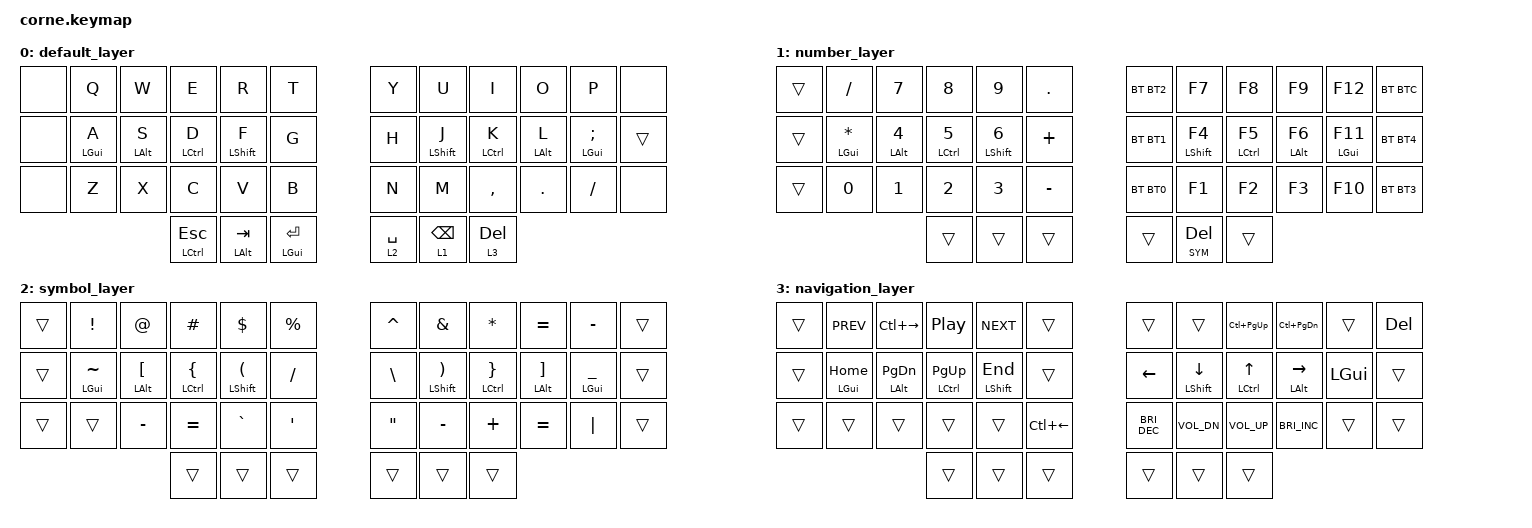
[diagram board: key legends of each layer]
/*
 * Copyright (c) 2020 The ZMK Contributors
 *
 * SPDX-License-Identifier: MIT
 */

#include <behaviors.dtsi>
#include <dt-bindings/zmk/mouse.h>
#include <dt-bindings/zmk/bt.h>
#include <dt-bindings/zmk/keys.h>

#undef MOVE_UP 
#undef MOVE_DOWN 
#undef MOVE_LEFT 
#undef MOVE_RIGHT

#define MOVE_UP MOVE_VERT(-4000)
#define MOVE_DOWN MOVE_VERT(4000)
#define MOVE_LEFT MOVE_HOR(-4000)
#define MOVE_RIGHT MOVE_HOR(4000)

// ms timings for homerow mods for each side

#define HOMEROW_TAPPING_TERM 280
#define HOMEROW_QUICK_TAP 150 // ca. 10500/(relaxed typing speed)

#undef SCROLL_UP 
#undef SCROLL_DOWN

#define SCROLL_UP SCROLL_VERT(40)
#define SCROLL_DOWN SCROLL_VERT(-40)
#define NAV_LAYER 1
#define SYM_LAYER 2
#define SYSTEM_LAYER 3

&mt {
    tapping-term-ms = <200>;
    quick_tap_ms = <0>;
    flavor = "tap-preferred";
};

&mmv {
    acceleration-exponent = <2>;
    time-to-max-speed-ms = <1500>;
};

&mwh {
    acceleration-exponent = <2>;
    time-to-max-speed-ms = <1500>;
};

/ {
    behaviors {
        ht: holdtap {
            compatible = "zmk,behavior-hold-tap";
            label = "THUMB_HOLD_TAPS";
            #binding-cells = <2>;
            tapping-term-ms = <300>;
            flavor = "balanced";
            global-quick-tap;
            quick-tap-ms = <0>;
            bindings =
                <&kp>,
                <&kp>;
        };
        hml: homerow_mods_left {
            compatible = "zmk,behavior-hold-tap";
            label = "HOMEROW_MODS_LEFT";
            #binding-cells = <2>;
            tapping-term-ms = <HOMEROW_TAPPING_TERM>;
            quick-tap-ms = <HOMEROW_QUICK_TAP>;
            global-quick-tap;
            flavor = "balanced";
            bindings =
                <&kp>,
                <&kp>;

            hold-trigger-on-release;
        };
        hmr: homerow_mods_right {
            compatible = "zmk,behavior-hold-tap";
            label = "HOMEROW_MODS_RIGHT";
            #binding-cells = <2>;
            tapping-term-ms = <HOMEROW_TAPPING_TERM>;
            quick-tap-ms = <HOMEROW_QUICK_TAP>;
            global-quick-tap;
            flavor = "balanced";
            bindings =
                <&kp>,
                <&kp>;

            hold-trigger-on-release;
        };

        // tap -> sticky shift | shift + tap or double tap -> caps-word | hold -> shift

        smart_shft: smart_shft {
            compatible = "zmk,behavior-mod-morph";
            label = "SMART_SHIFT";
            #binding-cells = <0>;
            bindings =
                <&sk LSHFT>,
                <&caps_word>;

            mods = <(MOD_LSFT|MOD_RSFT)>;
        };
        gqt: global-quick-tap {
            compatible = "zmk,behavior-hold-tap";
            label = "GLOBAL_QUICK_TAP";
            #binding-cells = <2>;
            flavor = "tap-preferred";
            tapping-term-ms = <200>;
            quick-tap-ms = <125>;
            global-quick-tap;
            bindings =
                <&kp>,
                <&kp>;
        };

        // tap or hold -> LALT | double tap -> Caps Lock

        alt_caps: alt_caps {
            compatible = "zmk,behavior-tap-dance";
            label = "ALT_CAPS";
            #binding-cells = <0>;
            tapping-term-ms = <50>;
            bindings =
                <&kp LALT>,
                <&kp CAPS>;
        };
    };

    macros {
    };

    combos {
        compatible = "zmk,combos";

        combo_mo1 {
            timeout-ms = <50>;
            key-positions = <39 40>;
            bindings = <&mo 3>;
        };

        backspace_combo {
            bindings = <&kp BACKSPACE>;
            key-positions = <22 21>;
        };

        undo_combo {
            bindings = <&kp K_UNDO>;
            key-positions = <25 26>;
        };

        copy_combo {
            bindings = <&kp K_COPY>;
            key-positions = <27 26>;
        };

        past_combo {
            bindings = <&kp K_PASTE>;
            key-positions = <28 29>;
        };
    };

    keymap {
        compatible = "zmk,keymap";

        default_layer {
            bindings = <
&none       &kp Q       &kp W          &kp E             &kp R               &kp T          &kp Y            &kp U        &kp I       &kp O          &kp P   &none
&none  &mt LGUI A  &mt LALT S    &mt LCTRL D       &mt LSHFT F               &kp G          &kp H      &mt LSHFT J  &mt LCTRL K  &mt LALT L  &mt LGUI SEMI  &trans
&none       &kp Z       &kp X          &kp C             &kp V               &kp B          &kp N            &kp M    &kp COMMA     &kp DOT       &kp FSLH   &none
                               &ht LCTRL ESC  &ht LEFT_ALT TAB  &ht LEFT_GUI ENTER    &lt 2 SPACE  &lt 1 BACKSPACE    &lt 3 DEL
            >;
        };

        number_layer {
            // -----------------------------------------------------------------------------------------
            // |     |  /  |  7  |  8  |  9  |  .  |   | BT2 |  F7 |  F8 |  F9 | F12 |BLCLR|
            // |     |  *  |  4  |  5  |  6  |  +  |   | BT1 |  F4 |  F5 |  F6 | F11 | BT4 |
            // |     |  0  |  1  |  2  |  3  |  -  |   | BT0 |  F1 |  F2 |  F3 | F10 | BT3 |
            //                   |     |     |     |   |     |     |     |

            bindings = <
&trans        &kp FSLH        &kp N7         &kp N8         &kp N9    &kp DOT    &bt BT2         &kp F7         &kp F8        &kp F9        &kp F12  &bt BTC
&trans  &hml LGUI STAR  &hml LALT N4  &hml LCTRL N5  &hml LSHFT N6   &kp PLUS    &bt BT1  &hmr LSHFT F4  &hmr LCTRL F5  &hmr LALT F6  &hmr LGUI F11  &bt BT4
&trans          &kp N0        &kp N1         &kp N2         &kp N3  &kp MINUS    &bt BT0         &kp F1         &kp F2        &kp F3        &kp F10  &bt BT3
                                             &trans         &trans     &trans     &trans    &lt SYM DEL         &trans
            >;
        };

        symbol_layer {
            // -----------------------------------------------------------------------------------------
            // |     |  !  |  @  |  #  |  $  |  %  |   |  ^  |  &  |  *  |  =  |  -  |     |
            // |     |  ~  |  [  |  {  |  (  |  /  |   |  \  |  )  |  }  |  ]  |  _  |     |
            // |     |     |  -  |  =  |  `  |  '  |   |  "  |  -  |  +  |  =  | "|" |     |
            //                   |     |     |     |   |     |     |     |

            bindings = <
&trans         &kp EXCL          &kp AT         &kp HASH       &kp DOLLAR  &kp PRCNT    &kp CARET         &kp AMPS         &kp STAR       &kp EQUAL        &kp MINUS  &trans
&trans  &hml LGUI TILDE  &hml LALT LBKT  &hml LCTRL LBRC  &hml LSHFT LPAR   &kp FSLH     &kp BSLH  &hmr LSHFT RPAR  &hmr LCTRL RBRC  &hmr LALT RBKT  &hmr LGUI UNDER  &trans
&trans           &trans       &kp MINUS        &kp EQUAL        &kp GRAVE    &kp SQT      &kp DQT        &kp MINUS         &kp PLUS       &kp EQUAL         &kp PIPE  &trans
                                                  &trans           &trans     &trans       &trans           &trans           &trans
            >;
        };

        navigation_layer {
            // -----------------------------------------------------------------------------------------
            // |     |  <- |WRDLE| PLAY|  -> |     |   |     |PRETAB|NXTTAB|     |     | DEL |
            // |     | LFT | DWN |  UP | RGT |     |   | LEFT| DOWN |  UP  |RIGHT| GUI |     |
            // |     |     |     |     |     |     |   |BRIDC|VOLDWN| VOLUP|BRIIC|     |     |
            //                   |     |     |     |   |     |      |      |

            bindings = <
&trans      &kp C_PREV    &kp LC(RIGHT)          &kp C_PP      &kp C_NEXT        &trans           &trans           &trans  &kp LC(PG_UP)    &kp LC(PG_DN)    &trans  &kp DEL
&trans  &hml LGUI HOME  &hml LALT PG_DN  &hml LCTRL PG_UP  &hml LSHFT END        &trans         &kp LEFT  &hmr LSHFT DOWN  &hmr LCTRL UP  &hmr LALT RIGHT  &kp LGUI   &trans
&trans          &trans           &trans            &trans          &trans  &kp LC(LEFT)    &kp C_BRI_DEC     &kp C_VOL_DN   &kp C_VOL_UP    &kp C_BRI_INC    &trans   &trans
                                                   &trans          &trans        &trans           &trans           &trans         &trans
            >;
        };
    };
};
